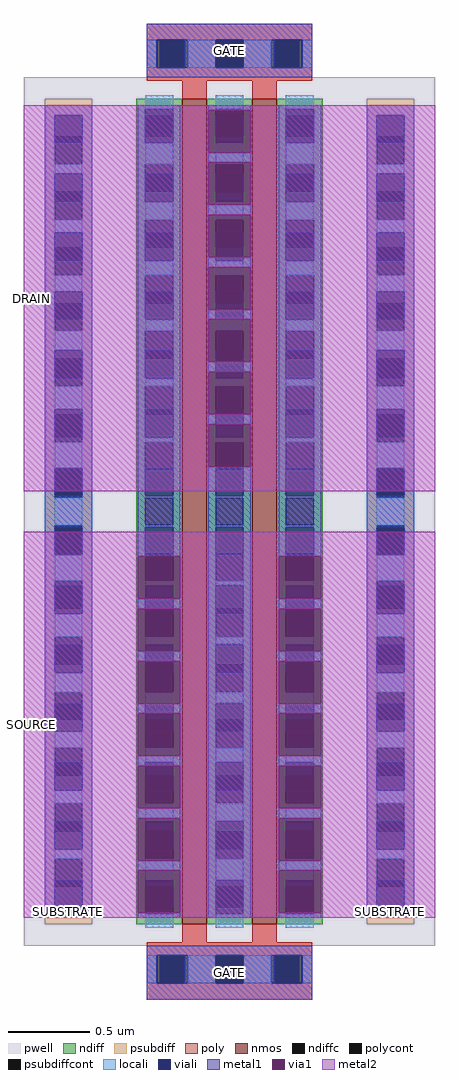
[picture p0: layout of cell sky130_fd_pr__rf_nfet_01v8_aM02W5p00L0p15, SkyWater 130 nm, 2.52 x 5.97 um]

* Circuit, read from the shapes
.subckt sky130_fd_pr__rf_nfet_01v8_aM02W5p00L0p15 DRAIN GATE SOURCE SUBSTRATE
XM1 DRAIN GATE SOURCE SUBSTRATE sky130_fd_pr__nfet_01v8 w=5.05 l=0.15 m=2
.ends

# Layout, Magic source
magic
tech sky130A
magscale 1 2
<< pwell >>
rect 10 76 514 1138
<< nmos >>
rect 204 102 234 1112
rect 290 102 320 1112
<< ndiff >>
rect 148 1100 204 1112
rect 148 1066 159 1100
rect 193 1066 204 1100
rect 148 1032 204 1066
rect 148 998 159 1032
rect 193 998 204 1032
rect 148 964 204 998
rect 148 930 159 964
rect 193 930 204 964
rect 148 896 204 930
rect 148 862 159 896
rect 193 862 204 896
rect 148 828 204 862
rect 148 794 159 828
rect 193 794 204 828
rect 148 760 204 794
rect 148 726 159 760
rect 193 726 204 760
rect 148 692 204 726
rect 148 658 159 692
rect 193 658 204 692
rect 148 624 204 658
rect 148 590 159 624
rect 193 590 204 624
rect 148 556 204 590
rect 148 522 159 556
rect 193 522 204 556
rect 148 488 204 522
rect 148 454 159 488
rect 193 454 204 488
rect 148 420 204 454
rect 148 386 159 420
rect 193 386 204 420
rect 148 352 204 386
rect 148 318 159 352
rect 193 318 204 352
rect 148 284 204 318
rect 148 250 159 284
rect 193 250 204 284
rect 148 216 204 250
rect 148 182 159 216
rect 193 182 204 216
rect 148 148 204 182
rect 148 114 159 148
rect 193 114 204 148
rect 148 102 204 114
rect 234 1100 290 1112
rect 234 1066 245 1100
rect 279 1066 290 1100
rect 234 1032 290 1066
rect 234 998 245 1032
rect 279 998 290 1032
rect 234 964 290 998
rect 234 930 245 964
rect 279 930 290 964
rect 234 896 290 930
rect 234 862 245 896
rect 279 862 290 896
rect 234 828 290 862
rect 234 794 245 828
rect 279 794 290 828
rect 234 760 290 794
rect 234 726 245 760
rect 279 726 290 760
rect 234 692 290 726
rect 234 658 245 692
rect 279 658 290 692
rect 234 624 290 658
rect 234 590 245 624
rect 279 590 290 624
rect 234 556 290 590
rect 234 522 245 556
rect 279 522 290 556
rect 234 488 290 522
rect 234 454 245 488
rect 279 454 290 488
rect 234 420 290 454
rect 234 386 245 420
rect 279 386 290 420
rect 234 352 290 386
rect 234 318 245 352
rect 279 318 290 352
rect 234 284 290 318
rect 234 250 245 284
rect 279 250 290 284
rect 234 216 290 250
rect 234 182 245 216
rect 279 182 290 216
rect 234 148 290 182
rect 234 114 245 148
rect 279 114 290 148
rect 234 102 290 114
rect 320 1100 376 1112
rect 320 1066 331 1100
rect 365 1066 376 1100
rect 320 1032 376 1066
rect 320 998 331 1032
rect 365 998 376 1032
rect 320 964 376 998
rect 320 930 331 964
rect 365 930 376 964
rect 320 896 376 930
rect 320 862 331 896
rect 365 862 376 896
rect 320 828 376 862
rect 320 794 331 828
rect 365 794 376 828
rect 320 760 376 794
rect 320 726 331 760
rect 365 726 376 760
rect 320 692 376 726
rect 320 658 331 692
rect 365 658 376 692
rect 320 624 376 658
rect 320 590 331 624
rect 365 590 376 624
rect 320 556 376 590
rect 320 522 331 556
rect 365 522 376 556
rect 320 488 376 522
rect 320 454 331 488
rect 365 454 376 488
rect 320 420 376 454
rect 320 386 331 420
rect 365 386 376 420
rect 320 352 376 386
rect 320 318 331 352
rect 365 318 376 352
rect 320 284 376 318
rect 320 250 331 284
rect 365 250 376 284
rect 320 216 376 250
rect 320 182 331 216
rect 365 182 376 216
rect 320 148 376 182
rect 320 114 331 148
rect 365 114 376 148
rect 320 102 376 114
<< ndiffc >>
rect 159 1066 193 1100
rect 159 998 193 1032
rect 159 930 193 964
rect 159 862 193 896
rect 159 794 193 828
rect 159 726 193 760
rect 159 658 193 692
rect 159 590 193 624
rect 159 522 193 556
rect 159 454 193 488
rect 159 386 193 420
rect 159 318 193 352
rect 159 250 193 284
rect 159 182 193 216
rect 159 114 193 148
rect 245 1066 279 1100
rect 245 998 279 1032
rect 245 930 279 964
rect 245 862 279 896
rect 245 794 279 828
rect 245 726 279 760
rect 245 658 279 692
rect 245 590 279 624
rect 245 522 279 556
rect 245 454 279 488
rect 245 386 279 420
rect 245 318 279 352
rect 245 250 279 284
rect 245 182 279 216
rect 245 114 279 148
rect 331 1066 365 1100
rect 331 998 365 1032
rect 331 930 365 964
rect 331 862 365 896
rect 331 794 365 828
rect 331 726 365 760
rect 331 658 365 692
rect 331 590 365 624
rect 331 522 365 556
rect 331 454 365 488
rect 331 386 365 420
rect 331 318 365 352
rect 331 250 365 284
rect 331 182 365 216
rect 331 114 365 148
<< psubdiff >>
rect 36 1066 94 1112
rect 36 1032 48 1066
rect 82 1032 94 1066
rect 36 998 94 1032
rect 36 964 48 998
rect 82 964 94 998
rect 36 930 94 964
rect 36 896 48 930
rect 82 896 94 930
rect 36 862 94 896
rect 36 828 48 862
rect 82 828 94 862
rect 36 794 94 828
rect 36 760 48 794
rect 82 760 94 794
rect 36 726 94 760
rect 36 692 48 726
rect 82 692 94 726
rect 36 658 94 692
rect 36 624 48 658
rect 82 624 94 658
rect 36 590 94 624
rect 36 556 48 590
rect 82 556 94 590
rect 36 522 94 556
rect 36 488 48 522
rect 82 488 94 522
rect 36 454 94 488
rect 36 420 48 454
rect 82 420 94 454
rect 36 386 94 420
rect 36 352 48 386
rect 82 352 94 386
rect 36 318 94 352
rect 36 284 48 318
rect 82 284 94 318
rect 36 250 94 284
rect 36 216 48 250
rect 82 216 94 250
rect 36 182 94 216
rect 36 148 48 182
rect 82 148 94 182
rect 36 102 94 148
rect 430 1066 488 1112
rect 430 1032 442 1066
rect 476 1032 488 1066
rect 430 998 488 1032
rect 430 964 442 998
rect 476 964 488 998
rect 430 930 488 964
rect 430 896 442 930
rect 476 896 488 930
rect 430 862 488 896
rect 430 828 442 862
rect 476 828 488 862
rect 430 794 488 828
rect 430 760 442 794
rect 476 760 488 794
rect 430 726 488 760
rect 430 692 442 726
rect 476 692 488 726
rect 430 658 488 692
rect 430 624 442 658
rect 476 624 488 658
rect 430 590 488 624
rect 430 556 442 590
rect 476 556 488 590
rect 430 522 488 556
rect 430 488 442 522
rect 476 488 488 522
rect 430 454 488 488
rect 430 420 442 454
rect 476 420 488 454
rect 430 386 488 420
rect 430 352 442 386
rect 476 352 488 386
rect 430 318 488 352
rect 430 284 442 318
rect 476 284 488 318
rect 430 250 488 284
rect 430 216 442 250
rect 476 216 488 250
rect 430 182 488 216
rect 430 148 442 182
rect 476 148 488 182
rect 430 102 488 148
<< psubdiffcont >>
rect 48 1032 82 1066
rect 48 964 82 998
rect 48 896 82 930
rect 48 828 82 862
rect 48 760 82 794
rect 48 692 82 726
rect 48 624 82 658
rect 48 556 82 590
rect 48 488 82 522
rect 48 420 82 454
rect 48 352 82 386
rect 48 284 82 318
rect 48 216 82 250
rect 48 148 82 182
rect 442 1032 476 1066
rect 442 964 476 998
rect 442 896 476 930
rect 442 828 476 862
rect 442 760 476 794
rect 442 692 476 726
rect 442 624 476 658
rect 442 556 476 590
rect 442 488 476 522
rect 442 420 476 454
rect 442 352 476 386
rect 442 284 476 318
rect 442 216 476 250
rect 442 148 476 182
<< poly >>
rect 161 1184 363 1204
rect 161 1150 177 1184
rect 211 1150 245 1184
rect 279 1150 313 1184
rect 347 1150 363 1184
rect 161 1134 363 1150
rect 204 1112 234 1134
rect 290 1112 320 1134
rect 204 80 234 102
rect 290 80 320 102
rect 161 64 363 80
rect 161 30 177 64
rect 211 30 245 64
rect 279 30 313 64
rect 347 30 363 64
rect 161 10 363 30
<< polycont >>
rect 177 1150 211 1184
rect 245 1150 279 1184
rect 313 1150 347 1184
rect 177 30 211 64
rect 245 30 279 64
rect 313 30 347 64
<< locali >>
rect 161 1150 173 1184
rect 211 1150 245 1184
rect 279 1150 313 1184
rect 351 1150 363 1184
rect 159 1100 193 1116
rect 48 1020 82 1032
rect 48 948 82 964
rect 48 876 82 896
rect 48 804 82 828
rect 48 732 82 760
rect 48 660 82 692
rect 48 590 82 624
rect 48 522 82 554
rect 48 454 82 482
rect 48 386 82 410
rect 48 318 82 338
rect 48 250 82 266
rect 48 182 82 194
rect 159 1032 193 1058
rect 159 964 193 986
rect 159 896 193 914
rect 159 828 193 842
rect 159 760 193 770
rect 159 692 193 698
rect 159 624 193 626
rect 159 588 193 590
rect 159 516 193 522
rect 159 444 193 454
rect 159 372 193 386
rect 159 300 193 318
rect 159 228 193 250
rect 159 156 193 182
rect 159 98 193 114
rect 245 1100 279 1116
rect 245 1032 279 1058
rect 245 964 279 986
rect 245 896 279 914
rect 245 828 279 842
rect 245 760 279 770
rect 245 692 279 698
rect 245 624 279 626
rect 245 588 279 590
rect 245 516 279 522
rect 245 444 279 454
rect 245 372 279 386
rect 245 300 279 318
rect 245 228 279 250
rect 245 156 279 182
rect 245 98 279 114
rect 331 1100 365 1116
rect 331 1032 365 1058
rect 331 964 365 986
rect 331 896 365 914
rect 331 828 365 842
rect 331 760 365 770
rect 331 692 365 698
rect 331 624 365 626
rect 331 588 365 590
rect 331 516 365 522
rect 331 444 365 454
rect 331 372 365 386
rect 331 300 365 318
rect 331 228 365 250
rect 331 156 365 182
rect 442 1020 476 1032
rect 442 948 476 964
rect 442 876 476 896
rect 442 804 476 828
rect 442 732 476 760
rect 442 660 476 692
rect 442 590 476 624
rect 442 522 476 554
rect 442 454 476 482
rect 442 386 476 410
rect 442 318 476 338
rect 442 250 476 266
rect 442 182 476 194
rect 331 98 365 114
rect 161 30 173 64
rect 211 30 245 64
rect 279 30 313 64
rect 351 30 363 64
<< viali >>
rect 173 1150 177 1184
rect 177 1150 207 1184
rect 245 1150 279 1184
rect 317 1150 347 1184
rect 347 1150 351 1184
rect 48 1066 82 1092
rect 48 1058 82 1066
rect 48 998 82 1020
rect 48 986 82 998
rect 48 930 82 948
rect 48 914 82 930
rect 48 862 82 876
rect 48 842 82 862
rect 48 794 82 804
rect 48 770 82 794
rect 48 726 82 732
rect 48 698 82 726
rect 48 658 82 660
rect 48 626 82 658
rect 48 556 82 588
rect 48 554 82 556
rect 48 488 82 516
rect 48 482 82 488
rect 48 420 82 444
rect 48 410 82 420
rect 48 352 82 372
rect 48 338 82 352
rect 48 284 82 300
rect 48 266 82 284
rect 48 216 82 228
rect 48 194 82 216
rect 48 148 82 156
rect 48 122 82 148
rect 159 1066 193 1092
rect 159 1058 193 1066
rect 159 998 193 1020
rect 159 986 193 998
rect 159 930 193 948
rect 159 914 193 930
rect 159 862 193 876
rect 159 842 193 862
rect 159 794 193 804
rect 159 770 193 794
rect 159 726 193 732
rect 159 698 193 726
rect 159 658 193 660
rect 159 626 193 658
rect 159 556 193 588
rect 159 554 193 556
rect 159 488 193 516
rect 159 482 193 488
rect 159 420 193 444
rect 159 410 193 420
rect 159 352 193 372
rect 159 338 193 352
rect 159 284 193 300
rect 159 266 193 284
rect 159 216 193 228
rect 159 194 193 216
rect 159 148 193 156
rect 159 122 193 148
rect 245 1066 279 1092
rect 245 1058 279 1066
rect 245 998 279 1020
rect 245 986 279 998
rect 245 930 279 948
rect 245 914 279 930
rect 245 862 279 876
rect 245 842 279 862
rect 245 794 279 804
rect 245 770 279 794
rect 245 726 279 732
rect 245 698 279 726
rect 245 658 279 660
rect 245 626 279 658
rect 245 556 279 588
rect 245 554 279 556
rect 245 488 279 516
rect 245 482 279 488
rect 245 420 279 444
rect 245 410 279 420
rect 245 352 279 372
rect 245 338 279 352
rect 245 284 279 300
rect 245 266 279 284
rect 245 216 279 228
rect 245 194 279 216
rect 245 148 279 156
rect 245 122 279 148
rect 331 1066 365 1092
rect 331 1058 365 1066
rect 331 998 365 1020
rect 331 986 365 998
rect 331 930 365 948
rect 331 914 365 930
rect 331 862 365 876
rect 331 842 365 862
rect 331 794 365 804
rect 331 770 365 794
rect 331 726 365 732
rect 331 698 365 726
rect 331 658 365 660
rect 331 626 365 658
rect 331 556 365 588
rect 331 554 365 556
rect 331 488 365 516
rect 331 482 365 488
rect 331 420 365 444
rect 331 410 365 420
rect 331 352 365 372
rect 331 338 365 352
rect 331 284 365 300
rect 331 266 365 284
rect 331 216 365 228
rect 331 194 365 216
rect 331 148 365 156
rect 331 122 365 148
rect 442 1066 476 1092
rect 442 1058 476 1066
rect 442 998 476 1020
rect 442 986 476 998
rect 442 930 476 948
rect 442 914 476 930
rect 442 862 476 876
rect 442 842 476 862
rect 442 794 476 804
rect 442 770 476 794
rect 442 726 476 732
rect 442 698 476 726
rect 442 658 476 660
rect 442 626 476 658
rect 442 556 476 588
rect 442 554 476 556
rect 442 488 476 516
rect 442 482 476 488
rect 442 420 476 444
rect 442 410 476 420
rect 442 352 476 372
rect 442 338 476 352
rect 442 284 476 300
rect 442 266 476 284
rect 442 216 476 228
rect 442 194 476 216
rect 442 148 476 156
rect 442 122 476 148
rect 173 30 177 64
rect 177 30 207 64
rect 245 30 279 64
rect 317 30 347 64
rect 347 30 351 64
<< metal1 >>
rect 161 1184 363 1204
rect 161 1150 173 1184
rect 207 1150 245 1184
rect 279 1150 317 1184
rect 351 1150 363 1184
rect 161 1138 363 1150
rect 36 1092 94 1104
rect 36 1058 48 1092
rect 82 1058 94 1092
rect 36 1020 94 1058
rect 36 986 48 1020
rect 82 986 94 1020
rect 36 948 94 986
rect 36 914 48 948
rect 82 914 94 948
rect 36 876 94 914
rect 36 842 48 876
rect 82 842 94 876
rect 36 804 94 842
rect 36 770 48 804
rect 82 770 94 804
rect 36 732 94 770
rect 36 698 48 732
rect 82 698 94 732
rect 36 660 94 698
rect 36 626 48 660
rect 82 626 94 660
rect 36 588 94 626
rect 36 554 48 588
rect 82 554 94 588
rect 36 516 94 554
rect 36 482 48 516
rect 82 482 94 516
rect 36 444 94 482
rect 36 410 48 444
rect 82 410 94 444
rect 36 372 94 410
rect 36 338 48 372
rect 82 338 94 372
rect 36 300 94 338
rect 36 266 48 300
rect 82 266 94 300
rect 36 228 94 266
rect 36 194 48 228
rect 82 194 94 228
rect 36 156 94 194
rect 36 122 48 156
rect 82 122 94 156
rect 36 110 94 122
rect 150 1092 202 1104
rect 150 1058 159 1092
rect 193 1058 202 1092
rect 150 1020 202 1058
rect 150 986 159 1020
rect 193 986 202 1020
rect 150 948 202 986
rect 150 914 159 948
rect 193 914 202 948
rect 150 876 202 914
rect 150 842 159 876
rect 193 842 202 876
rect 150 804 202 842
rect 150 770 159 804
rect 193 770 202 804
rect 150 732 202 770
rect 150 698 159 732
rect 193 698 202 732
rect 150 660 202 698
rect 150 626 159 660
rect 193 626 202 660
rect 150 588 202 626
rect 150 554 159 588
rect 193 554 202 588
rect 150 552 202 554
rect 150 488 159 500
rect 193 488 202 500
rect 150 424 159 436
rect 193 424 202 436
rect 150 360 159 372
rect 193 360 202 372
rect 150 300 202 308
rect 150 296 159 300
rect 193 296 202 300
rect 150 232 202 244
rect 150 168 202 180
rect 150 110 202 116
rect 236 1098 288 1104
rect 236 1034 288 1046
rect 236 970 288 982
rect 236 914 245 918
rect 279 914 288 918
rect 236 906 288 914
rect 236 842 245 854
rect 279 842 288 854
rect 236 778 245 790
rect 279 778 288 790
rect 236 714 245 726
rect 279 714 288 726
rect 236 660 288 662
rect 236 626 245 660
rect 279 626 288 660
rect 236 588 288 626
rect 236 554 245 588
rect 279 554 288 588
rect 236 516 288 554
rect 236 482 245 516
rect 279 482 288 516
rect 236 444 288 482
rect 236 410 245 444
rect 279 410 288 444
rect 236 372 288 410
rect 236 338 245 372
rect 279 338 288 372
rect 236 300 288 338
rect 236 266 245 300
rect 279 266 288 300
rect 236 228 288 266
rect 236 194 245 228
rect 279 194 288 228
rect 236 156 288 194
rect 236 122 245 156
rect 279 122 288 156
rect 236 110 288 122
rect 322 1092 374 1104
rect 322 1058 331 1092
rect 365 1058 374 1092
rect 322 1020 374 1058
rect 322 986 331 1020
rect 365 986 374 1020
rect 322 948 374 986
rect 322 914 331 948
rect 365 914 374 948
rect 322 876 374 914
rect 322 842 331 876
rect 365 842 374 876
rect 322 804 374 842
rect 322 770 331 804
rect 365 770 374 804
rect 322 732 374 770
rect 322 698 331 732
rect 365 698 374 732
rect 322 660 374 698
rect 322 626 331 660
rect 365 626 374 660
rect 322 588 374 626
rect 322 554 331 588
rect 365 554 374 588
rect 322 552 374 554
rect 322 488 331 500
rect 365 488 374 500
rect 322 424 331 436
rect 365 424 374 436
rect 322 360 331 372
rect 365 360 374 372
rect 322 300 374 308
rect 322 296 331 300
rect 365 296 374 300
rect 322 232 374 244
rect 322 168 374 180
rect 322 110 374 116
rect 430 1092 488 1104
rect 430 1058 442 1092
rect 476 1058 488 1092
rect 430 1020 488 1058
rect 430 986 442 1020
rect 476 986 488 1020
rect 430 948 488 986
rect 430 914 442 948
rect 476 914 488 948
rect 430 876 488 914
rect 430 842 442 876
rect 476 842 488 876
rect 430 804 488 842
rect 430 770 442 804
rect 476 770 488 804
rect 430 732 488 770
rect 430 698 442 732
rect 476 698 488 732
rect 430 660 488 698
rect 430 626 442 660
rect 476 626 488 660
rect 430 588 488 626
rect 430 554 442 588
rect 476 554 488 588
rect 430 516 488 554
rect 430 482 442 516
rect 476 482 488 516
rect 430 444 488 482
rect 430 410 442 444
rect 476 410 488 444
rect 430 372 488 410
rect 430 338 442 372
rect 476 338 488 372
rect 430 300 488 338
rect 430 266 442 300
rect 476 266 488 300
rect 430 228 488 266
rect 430 194 442 228
rect 476 194 488 228
rect 430 156 488 194
rect 430 122 442 156
rect 476 122 488 156
rect 430 110 488 122
rect 161 64 363 76
rect 161 30 173 64
rect 207 30 245 64
rect 279 30 317 64
rect 351 30 363 64
rect 161 10 363 30
<< via1 >>
rect 150 516 202 552
rect 150 500 159 516
rect 159 500 193 516
rect 193 500 202 516
rect 150 482 159 488
rect 159 482 193 488
rect 193 482 202 488
rect 150 444 202 482
rect 150 436 159 444
rect 159 436 193 444
rect 193 436 202 444
rect 150 410 159 424
rect 159 410 193 424
rect 193 410 202 424
rect 150 372 202 410
rect 150 338 159 360
rect 159 338 193 360
rect 193 338 202 360
rect 150 308 202 338
rect 150 266 159 296
rect 159 266 193 296
rect 193 266 202 296
rect 150 244 202 266
rect 150 228 202 232
rect 150 194 159 228
rect 159 194 193 228
rect 193 194 202 228
rect 150 180 202 194
rect 150 156 202 168
rect 150 122 159 156
rect 159 122 193 156
rect 193 122 202 156
rect 150 116 202 122
rect 236 1092 288 1098
rect 236 1058 245 1092
rect 245 1058 279 1092
rect 279 1058 288 1092
rect 236 1046 288 1058
rect 236 1020 288 1034
rect 236 986 245 1020
rect 245 986 279 1020
rect 279 986 288 1020
rect 236 982 288 986
rect 236 948 288 970
rect 236 918 245 948
rect 245 918 279 948
rect 279 918 288 948
rect 236 876 288 906
rect 236 854 245 876
rect 245 854 279 876
rect 279 854 288 876
rect 236 804 288 842
rect 236 790 245 804
rect 245 790 279 804
rect 279 790 288 804
rect 236 770 245 778
rect 245 770 279 778
rect 279 770 288 778
rect 236 732 288 770
rect 236 726 245 732
rect 245 726 279 732
rect 279 726 288 732
rect 236 698 245 714
rect 245 698 279 714
rect 279 698 288 714
rect 236 662 288 698
rect 322 516 374 552
rect 322 500 331 516
rect 331 500 365 516
rect 365 500 374 516
rect 322 482 331 488
rect 331 482 365 488
rect 365 482 374 488
rect 322 444 374 482
rect 322 436 331 444
rect 331 436 365 444
rect 365 436 374 444
rect 322 410 331 424
rect 331 410 365 424
rect 365 410 374 424
rect 322 372 374 410
rect 322 338 331 360
rect 331 338 365 360
rect 365 338 374 360
rect 322 308 374 338
rect 322 266 331 296
rect 331 266 365 296
rect 365 266 374 296
rect 322 244 374 266
rect 322 228 374 232
rect 322 194 331 228
rect 331 194 365 228
rect 365 194 374 228
rect 322 180 374 194
rect 322 156 374 168
rect 322 122 331 156
rect 331 122 365 156
rect 365 122 374 156
rect 322 116 374 122
<< metal2 >>
rect 10 1098 514 1104
rect 10 1046 236 1098
rect 288 1046 514 1098
rect 10 1034 514 1046
rect 10 982 236 1034
rect 288 982 514 1034
rect 10 970 514 982
rect 10 918 236 970
rect 288 918 514 970
rect 10 906 514 918
rect 10 854 236 906
rect 288 854 514 906
rect 10 842 514 854
rect 10 790 236 842
rect 288 790 514 842
rect 10 778 514 790
rect 10 726 236 778
rect 288 726 514 778
rect 10 714 514 726
rect 10 662 236 714
rect 288 662 514 714
rect 10 632 514 662
rect 10 552 514 582
rect 10 500 150 552
rect 202 500 322 552
rect 374 500 514 552
rect 10 488 514 500
rect 10 436 150 488
rect 202 436 322 488
rect 374 436 514 488
rect 10 424 514 436
rect 10 372 150 424
rect 202 372 322 424
rect 374 372 514 424
rect 10 360 514 372
rect 10 308 150 360
rect 202 308 322 360
rect 374 308 514 360
rect 10 296 514 308
rect 10 244 150 296
rect 202 244 322 296
rect 374 244 514 296
rect 10 232 514 244
rect 10 180 150 232
rect 202 180 322 232
rect 374 180 514 232
rect 10 168 514 180
rect 10 116 150 168
rect 202 116 322 168
rect 374 116 514 168
rect 10 110 514 116
<< labels >>
flabel metal2 s 10 632 30 1104 7 FreeSans 300 180 0 0 DRAIN
port 1 nsew
flabel metal2 s 10 110 30 582 7 FreeSans 300 180 0 0 SOURCE
port 3 nsew
flabel metal1 s 430 110 488 126 3 FreeSans 300 90 0 0 SUBSTRATE
port 4 nsew
flabel metal1 s 36 110 94 126 3 FreeSans 300 90 0 0 SUBSTRATE
port 4 nsew
flabel metal1 s 161 1138 363 1204 0 FreeSans 300 0 0 0 GATE
port 2 nsew
flabel metal1 s 161 10 363 76 0 FreeSans 300 0 0 0 GATE
port 2 nsew
<< properties >>
string GDS_FILE $PDKPATH/libs.ref/sky130_fd_pr/gds/sky130_fd_pr.gds
string GDS_END 4026156
string GDS_START 4011132
<< end >>
